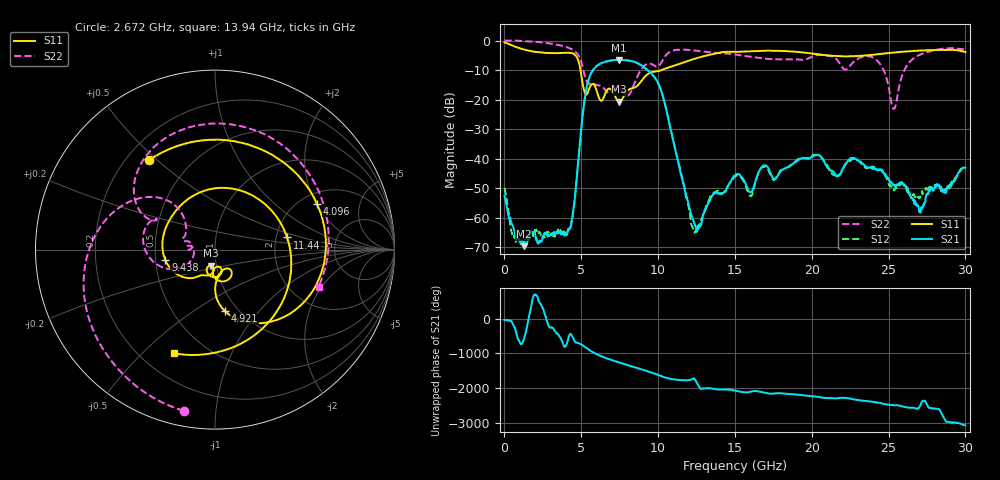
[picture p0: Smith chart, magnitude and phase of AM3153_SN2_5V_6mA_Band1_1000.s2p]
!Agilent Technologies,E8364B,MY43040894,A.07.50.67
!Agilent E8364B: A.07.50.67
!Date: Tuesday, May 12, 2020 09:45:11
!Correction: S11(Full 2 Port(1,2))
!S21(Full 2 Port(1,2))
!S12(Full 2 Port(1,2))
!S22(Full 2 Port(1,2))
!S2P File: Measurements: S11, S21, S12, S22:
# Hz S  dB  R 50
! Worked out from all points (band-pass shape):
!   1601 points, 10 MHz to 30 GHz, reference 50 ohm
!   highest |S21| = -6.53 dB at 7.451 GHz (marker M1); lowest = -69.7 dB at 1.266 GHz (marker M2)
!   |S21| within 3 dB of the highest: 5.828 GHz to 9.208 GHz (3.38 GHz wide, 45 % of centre)
!   lowest |S11| = -20.7 dB at 7.47 GHz (marker M3), VSWR 1.20, Z = 47.2 - j8.51 ohm
!   |S11| at or under -10 dB: 4.949 GHz to 10.23 GHz (5.281 GHz wide, 69.6 % of centre)
!   |S22| runs from -23.2 to 0.0 dB; largest |S21 - S12| = 0.0061
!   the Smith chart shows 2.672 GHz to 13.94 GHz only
!   S11 on the Smith chart (normalised r, x): 2.672 GHz: 0.29, +0.47; 4.096 GHz: 2.43, +2.03; 4.921 GHz: 0.87, -0.68; 9.438 GHz: 0.56, -0.07; 11.44 GHz: 2.30, +0.37; 13.94 GHz: 0.33, -0.63
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1e7  -0.61 -10.1  -52.47 -36.8  -49.91 74.9  0.05 -2.0
1.265831e9  -3.02 -138.8  -69.68 145.5  -67.62 -33.7  -0.22 -47.6
2.671612e9  -4.16 126.4  -65.37 70.4  -66.12 37.5  -0.77 -101.0
4.096138e9  -4.11 24.3  -65.21 58.3  -64.56 -51.4  -2.29 -161.8
4.920862e9  -9.18 -80.7  -34.07 -1.5  -33.96 -1.6  -6.05 144.6
5.014581e9  -12.19 -89.3  -29.00 -23.6  -28.95 -23.7  -7.42 137.2
6.382875e9  -20.05 -75.6  -7.49 -13.8  -7.51 -13.6  -15.73 163.1
7.451269e9  -20.72 -104.6  -6.53 -177.2  -6.54 -177.0  -16.11 174.2
7.470012e9  -20.73 -103.5  -6.53 -179.8  -6.55 -179.6  -16.14 173.8
8.650869e9  -15.30 -120.9  -7.60 20.4  -7.66 20.7  -12.17 -153.9
9.438106e9  -10.99 -167.8  -10.57 -88.3  -10.58 -87.5  -7.79 165.6
1.001916e10  -10.32 140.4  -14.60 -179.1  -14.59 -178.5  -8.63 154.1
1.144369e10  -7.81 9.5  -44.34 34.9  -43.73 38.4  -3.07 89.0
1.238088e10  -6.15 -47.9  -61.92 59.9  -65.11 100.0  -3.36 44.9
1.393661e10  -4.14 -111.4  -51.61 123.1  -51.25 118.4  -4.25 -19.8
1.5005e10  -3.83 -147.6  -45.67 93.8  -46.08 91.4  -4.70 -62.4
1.8004e10  -3.48 124.1  -44.14 14.3  -43.98 16.1  -6.35 175.5
2.000958e10  -4.39 53.2  -39.44 -64.1  -39.08 -63.9  -5.49 37.5
2.135913e10  -5.16 -2.5  -44.29 -127.9  -45.40 -124.0  -5.43 -78.0
2.501416e10  -4.21 -150.9  -47.09 44.1  -48.79 48.4  -15.93 121.9
2.709472e10  -3.36 146.0  -58.23 57.6  -52.47 -47.0  -4.66 -179.3
3e10  -3.85 78.5  -43.08 169.7  -43.31 172.7  -3.00 94.1
